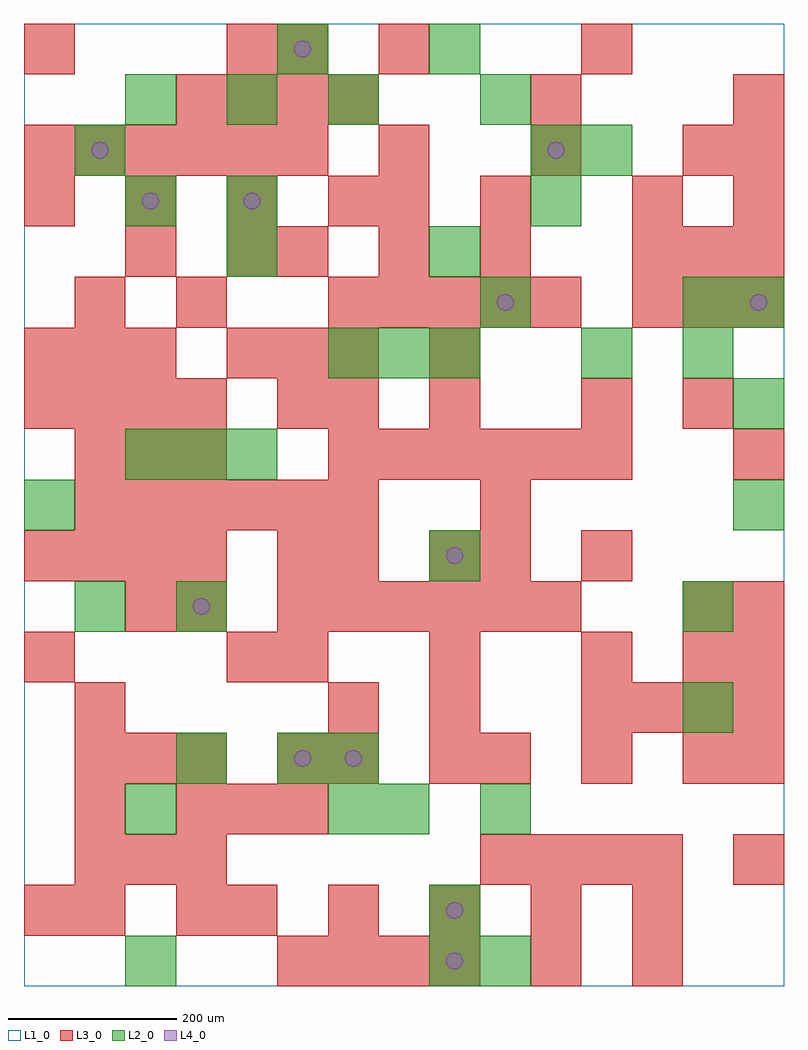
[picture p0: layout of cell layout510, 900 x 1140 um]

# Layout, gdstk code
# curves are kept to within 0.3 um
import gdstk
lib = gdstk.Library(unit=1e-6, precision=1e-09)
def R(c, l, rs):  # rectangles x0, y0, x1, y1
    for r in rs: c.add(gdstk.rectangle(r[:2], r[2:], *l))
def A(c, l, x, y, w, h, nx, ny, dx, dy):  # array of equal rectangles
    R(c, l, [(x+i*dx, y+j*dy, x+i*dx+w, y+j*dy+h) for i in range(nx) for j in range(ny)])
def P(c, l, *ps):  # polygons
    for p in ps: c.add(gdstk.Polygon(p, *l))
L1_0 = (1, 0)
L2_0 = (2, 0)
L3_0 = (3, 0)
L4_0 = (4, 0)

layout510 = lib.new_cell('layout510')
R(layout510, L1_0, [(0,0,900,1140)])
A(layout510, L2_0, 840, 540, 60, 60, 1, 3, 0, 120)
A(layout510, L2_0, 120, 600, 60, 60, 3, 1, 60, 0)
A(layout510, L2_0, 360, 720, 60, 60, 3, 1, 60, 0)
A(layout510, L2_0, 120, 1020, 60, 60, 3, 1, 120, 0)
R(layout510, L2_0, [(120,0,180,60), (480,0,540,60), (540,0,600,60), (480,60,540,120), (120,180,180,240), (360,180,420,240), (420,180,480,240), (540,180,600,240), (180,240,240,300), (300,240,360,300), (360,240,420,300), (780,300,840,360), (60,420,120,480), (180,420,240,480), (780,420,840,480), (480,480,540,540), (0,540,60,600), (660,720,720,780), (780,720,840,780), (540,780,600,840), (780,780,840,840), (240,840,300,900), (480,840,540,900), (120,900,180,960), (240,900,300,960), (600,900,660,960), (60,960,120,1020), (600,960,660,1020), (660,960,720,1020), (540,1020,600,1080), (300,1080,360,1140), (480,1080,540,1140)])
A(layout510, L3_0, 300, 0, 60, 60, 4, 1, 60, 0)
A(layout510, L3_0, 60, 60, 60, 60, 1, 3, 0, 120)
A(layout510, L3_0, 180, 60, 60, 60, 1, 3, 0, 360)
A(layout510, L3_0, 240, 60, 60, 60, 5, 1, 120, 0)
A(layout510, L3_0, 60, 120, 60, 60, 3, 2, 60, 120)
A(layout510, L3_0, 540, 120, 60, 60, 4, 1, 60, 0)
A(layout510, L3_0, 840, 120, 60, 60, 1, 3, 0, 120)
A(layout510, L3_0, 180, 180, 60, 60, 3, 1, 60, 0)
A(layout510, L3_0, 540, 240, 60, 60, 3, 1, 120, 0)
A(layout510, L3_0, 360, 300, 60, 60, 1, 3, 0, 180)
A(layout510, L3_0, 480, 300, 60, 60, 1, 3, 0, 180)
A(layout510, L3_0, 660, 300, 60, 60, 4, 1, 60, 0)
A(layout510, L3_0, 300, 360, 60, 60, 3, 1, 180, 0)
A(layout510, L3_0, 300, 420, 60, 60, 6, 1, 60, 0)
A(layout510, L3_0, 0, 480, 60, 60, 4, 2, 60, 180)
A(layout510, L3_0, 60, 540, 60, 60, 6, 1, 60, 0)
A(layout510, L3_0, 60, 600, 60, 60, 3, 1, 60, 0)
A(layout510, L3_0, 360, 600, 60, 60, 6, 1, 60, 0)
A(layout510, L3_0, 0, 720, 60, 60, 3, 1, 60, 0)
A(layout510, L3_0, 240, 720, 60, 60, 3, 1, 60, 0)
A(layout510, L3_0, 360, 780, 60, 60, 5, 1, 60, 0)
A(layout510, L3_0, 720, 780, 60, 60, 3, 2, 60, 60)
A(layout510, L3_0, 300, 840, 60, 60, 3, 1, 120, 0)
A(layout510, L3_0, 0, 900, 60, 60, 4, 1, 120, 0)
A(layout510, L3_0, 840, 900, 60, 60, 1, 3, 0, 60)
A(layout510, L3_0, 0, 960, 60, 60, 6, 1, 60, 0)
A(layout510, L3_0, 420, 960, 60, 60, 3, 1, 180, 0)
A(layout510, L3_0, 180, 1020, 60, 60, 4, 1, 60, 0)
R(layout510, L3_0, [(600,0,660,60), (720,0,780,60), (0,60,60,120), (300,240,360,300), (360,240,420,300), (480,240,540,300), (0,360,60,420), (240,360,300,420), (780,360,840,420), (120,420,180,480), (780,420,840,480), (840,420,900,480), (300,480,360,540), (540,480,600,540), (660,480,720,540), (540,540,600,600), (840,600,900,660), (300,660,360,720), (660,660,720,720), (780,660,840,720), (480,720,540,780), (60,780,120,840), (120,840,180,900), (240,840,300,900), (420,900,480,960), (540,900,600,960), (720,900,780,960), (600,1020,660,1080), (0,1080,60,1140), (240,1080,300,1140), (300,1080,360,1140), (420,1080,480,1140), (660,1080,720,1140)])
P(layout510, L4_0, [(100,990),(99.239,993.827),(97.071,997.071),(93.827,999.239),(90,1000),(86.173,999.239),(82.929,997.071),(80.761,993.827),(80,990),(80.761,986.173),(82.929,982.929),(86.173,980.761),(90,980),(93.827,980.761),(97.071,982.929),(99.239,986.173)],
  [(160,930),(159.239,933.827),(157.071,937.071),(153.827,939.239),(150,940),(146.173,939.239),(142.929,937.071),(140.761,933.827),(140,930),(140.761,926.173),(142.929,922.929),(146.173,920.761),(150,920),(153.827,920.761),(157.071,922.929),(159.239,926.173)],
  [(220,450),(219.239,453.827),(217.071,457.071),(213.827,459.239),(210,460),(206.173,459.239),(202.929,457.071),(200.761,453.827),(200,450),(200.761,446.173),(202.929,442.929),(206.173,440.761),(210,440),(213.827,440.761),(217.071,442.929),(219.239,446.173)],
  [(280,930),(279.239,933.827),(277.071,937.071),(273.827,939.239),(270,940),(266.173,939.239),(262.929,937.071),(260.761,933.827),(260,930),(260.761,926.173),(262.929,922.929),(266.173,920.761),(270,920),(273.827,920.761),(277.071,922.929),(279.239,926.173)],
  [(340,270),(339.239,273.827),(337.071,277.071),(333.827,279.239),(330,280),(326.173,279.239),(322.929,277.071),(320.761,273.827),(320,270),(320.761,266.173),(322.929,262.929),(326.173,260.761),(330,260),(333.827,260.761),(337.071,262.929),(339.239,266.173)],
  [(340,1110),(339.239,1113.827),(337.071,1117.071),(333.827,1119.239),(330,1120),(326.173,1119.239),(322.929,1117.071),(320.761,1113.827),(320,1110),(320.761,1106.173),(322.929,1102.929),(326.173,1100.761),(330,1100),(333.827,1100.761),(337.071,1102.929),(339.239,1106.173)],
  [(400,270),(399.239,273.827),(397.071,277.071),(393.827,279.239),(390,280),(386.173,279.239),(382.929,277.071),(380.761,273.827),(380,270),(380.761,266.173),(382.929,262.929),(386.173,260.761),(390,260),(393.827,260.761),(397.071,262.929),(399.239,266.173)],
  [(520,30),(519.239,33.827),(517.071,37.071),(513.827,39.239),(510,40),(506.173,39.239),(502.929,37.071),(500.761,33.827),(500,30),(500.761,26.173),(502.929,22.929),(506.173,20.761),(510,20),(513.827,20.761),(517.071,22.929),(519.239,26.173)],
  [(520,90),(519.239,93.827),(517.071,97.071),(513.827,99.239),(510,100),(506.173,99.239),(502.929,97.071),(500.761,93.827),(500,90),(500.761,86.173),(502.929,82.929),(506.173,80.761),(510,80),(513.827,80.761),(517.071,82.929),(519.239,86.173)],
  [(520,510),(519.239,513.827),(517.071,517.071),(513.827,519.239),(510,520),(506.173,519.239),(502.929,517.071),(500.761,513.827),(500,510),(500.761,506.173),(502.929,502.929),(506.173,500.761),(510,500),(513.827,500.761),(517.071,502.929),(519.239,506.173)],
  [(580,810),(579.239,813.827),(577.071,817.071),(573.827,819.239),(570,820),(566.173,819.239),(562.929,817.071),(560.761,813.827),(560,810),(560.761,806.173),(562.929,802.929),(566.173,800.761),(570,800),(573.827,800.761),(577.071,802.929),(579.239,806.173)],
  [(640,990),(639.239,993.827),(637.071,997.071),(633.827,999.239),(630,1000),(626.173,999.239),(622.929,997.071),(620.761,993.827),(620,990),(620.761,986.173),(622.929,982.929),(626.173,980.761),(630,980),(633.827,980.761),(637.071,982.929),(639.239,986.173)],
  [(880,810),(879.239,813.827),(877.071,817.071),(873.827,819.239),(870,820),(866.173,819.239),(862.929,817.071),(860.761,813.827),(860,810),(860.761,806.173),(862.929,802.929),(866.173,800.761),(870,800),(873.827,800.761),(877.071,802.929),(879.239,806.173)])

lib.write_gds('layout510.gds')
